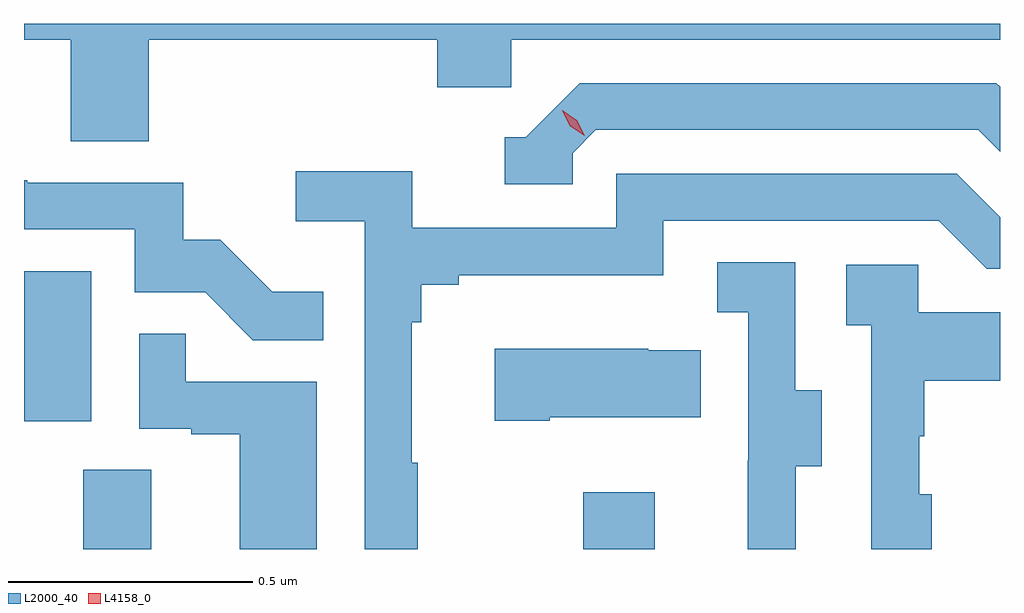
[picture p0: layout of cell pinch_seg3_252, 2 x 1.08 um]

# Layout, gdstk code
import gdstk
lib = gdstk.Library(unit=1e-6, precision=1e-09)
def R(c, l, rs):  # rectangles x0, y0, x1, y1
    for r in rs: c.add(gdstk.rectangle(r[:2], r[2:], *l))
def P(c, l, *ps):  # polygons
    for p in ps: c.add(gdstk.Polygon(p, *l))
L2000_40 = (2000, 40)
L4158_0 = (4158, 0)

pinch_seg3_252 = lib.new_cell('pinch_seg3_252')
R(pinch_seg3_252, L2000_40, [(907.391,747.824,907.531,747.986), (908.416,747.824,908.563,747.94), (907.27,748.086,907.408,748.393)])
P(pinch_seg3_252, L2000_40, [(907.526,748.868),(908.117,748.868),(908.117,748.77),(908.268,748.77),(908.268,748.868),(909.27,748.868),(909.27,748.9),(907.27,748.9),(907.27,748.868),(907.366,748.868),(907.366,748.66),(907.526,748.66)],
  [(908.394,748.635),(908.442,748.683),(909.225,748.683),(909.27,748.638),(909.27,748.771),(909.262,748.779),(908.409,748.779),(908.298,748.668),(908.255,748.668),(908.255,748.572),(908.394,748.572)],
  [(908.077,748.001),(908.065,748.001),(908.065,748.289),(908.084,748.289),(908.084,748.366),(908.161,748.366),(908.161,748.385),(908.58,748.385),(908.58,748.497),(909.144,748.497),(909.243,748.398),(909.27,748.398),(909.27,748.504),(909.181,748.593),(908.484,748.593),(908.484,748.482),(908.066,748.482),(908.066,748.598),(907.827,748.598),(907.827,748.496),(907.968,748.496),(907.968,747.824),(908.077,747.824)],
  [(907.883,748.351),(907.779,748.351),(907.672,748.458),(907.596,748.458),(907.596,748.575),(907.277,748.575),(907.277,748.58),(907.27,748.58),(907.27,748.479),(907.497,748.479),(907.497,748.35),(907.641,748.35),(907.739,748.252),(907.883,748.252)],
  [(908.851,747.994),(908.905,747.994),(908.905,748.149),(908.85,748.149),(908.85,748.412),(908.691,748.412),(908.691,748.309),(908.754,748.309),(908.754,748.005),(908.753,748.005),(908.753,747.824),(908.851,747.824)],
  [(909.13,747.936),(909.105,747.936),(909.105,748.055),(909.115,748.055),(909.115,748.169),(909.27,748.169),(909.27,748.309),(909.102,748.309),(909.102,748.407),(908.955,748.407),(908.955,748.283),(909.006,748.283),(909.006,747.824),(909.13,747.824)],
  [(907.87,748.167),(907.601,748.167),(907.601,748.265),(907.506,748.265),(907.506,748.071),(907.613,748.071),(907.613,748.059),(907.712,748.059),(907.712,747.824),(907.87,747.824)],
  [(908.347,748.094),(908.657,748.094),(908.657,748.231),(908.549,748.231),(908.549,748.234),(908.235,748.234),(908.235,748.087),(908.347,748.087)])
P(pinch_seg3_252, L4158_0, [(908.419,748.671),(908.389,748.69),(908.373,748.722),(908.373,748.723),(908.373,748.723),(908.403,748.703),(908.419,748.671),(908.419,748.671)])

lib.write_gds('pinch_seg3_252.gds')
